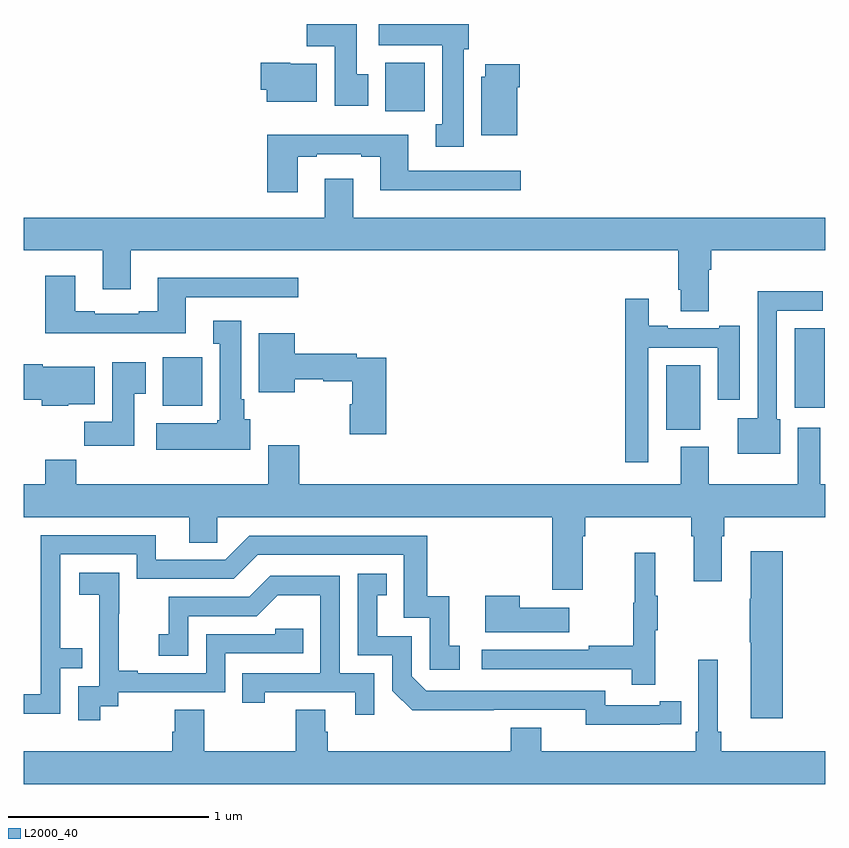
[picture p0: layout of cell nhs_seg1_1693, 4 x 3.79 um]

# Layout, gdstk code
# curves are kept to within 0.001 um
import gdstk
lib = gdstk.Library(unit=1e-6, precision=1e-09)
def R(c, l, rs):  # rectangles x0, y0, x1, y1
    for r in rs: c.add(gdstk.rectangle(r[:2], r[2:], *l))
def P(c, l, *ps):  # polygons
    for p in ps: c.add(gdstk.Polygon(p, *l))
L2000_40 = (2000, 40)

nhs_seg1_1693 = lib.new_cell('nhs_seg1_1693')
R(nhs_seg1_1693, L2000_40, [(206.207,548.174,206.377,548.494), (206.849,548.283,206.998,548.681), (203.693,548.294,203.89,548.536), (204.803,549.764,205,550.006)])
P(nhs_seg1_1693, L2000_40, [(205.195,550.074),(205.222,550.074),(205.222,550.199),(204.771,550.199),(204.771,550.094),(205.088,550.094),(205.088,549.698),(205.055,549.698),(205.055,549.585),(205.195,549.585)],
  [(204.718,549.948),(204.661,549.948),(204.661,550.199),(204.412,550.199),(204.412,550.088),(204.551,550.088),(204.551,549.792),(204.718,549.792)],
  [(204.463,550),(204.33,550),(204.33,550.006),(204.182,550.006),(204.182,549.87),(204.212,549.87),(204.212,549.812),(204.463,549.812)],
  [(205.462,549.884),(205.475,549.884),(205.475,549.997),(205.304,549.997),(205.304,549.936),(205.283,549.936),(205.283,549.644),(205.462,549.644)],
  [(204.367,549.537),(204.463,549.537),(204.463,549.549),(204.683,549.549),(204.683,549.537),(204.779,549.537),(204.779,549.368),(205.48,549.368),(205.48,549.465),(204.919,549.465),(204.919,549.646),(204.215,549.646),(204.215,549.36),(204.367,549.36)],
  [(206.419,548.972),(206.432,548.972),(206.432,549.068),(207,549.068),(207,549.232),(204.643,549.232),(204.643,549.427),(204.503,549.427),(204.503,549.232),(203,549.232),(203,549.068),(203.393,549.068),(203.393,548.874),(203.533,548.874),(203.533,549.068),(206.267,549.068),(206.267,548.872),(206.279,548.872),(206.279,548.764),(206.419,548.764)],
  [(203.809,548.835),(204.37,548.835),(204.37,548.932),(203.669,548.932),(203.669,548.764),(203.573,548.764),(203.573,548.751),(203.353,548.751),(203.353,548.764),(203.257,548.764),(203.257,548.941),(203.105,548.941),(203.105,548.654),(203.809,548.654)],
  [(206.776,548.226),(206.76,548.226),(206.76,548.766),(206.989,548.766),(206.989,548.864),(206.664,548.864),(206.664,548.23),(206.564,548.23),(206.564,548.054),(206.776,548.054)],
  [(206.118,548.583),(206.465,548.583),(206.465,548.322),(206.575,548.322),(206.575,548.692),(206.471,548.692),(206.471,548.679),(206.215,548.679),(206.215,548.692),(206.119,548.692),(206.119,548.827),(206.002,548.827),(206.002,548.01),(206.118,548.01)],
  [(204.13,548.226),(204.1,548.226),(204.1,548.326),(204.085,548.326),(204.085,548.716),(203.945,548.716),(203.945,548.603),(203.978,548.603),(203.978,548.22),(203.965,548.22),(203.965,548.206),(203.661,548.206),(203.661,548.072),(204.13,548.072)],
  [(204.809,548.532),(204.662,548.532),(204.662,548.552),(204.352,548.552),(204.352,548.656),(204.173,548.656),(204.173,548.36),(204.352,548.36),(204.352,548.424),(204.495,548.424),(204.495,548.416),(204.638,548.416),(204.638,548.301),(204.626,548.301),(204.626,548.151),(204.809,548.151)],
  [(203.551,548.353),(203.608,548.353),(203.608,548.509),(203.441,548.509),(203.441,548.212),(203.302,548.212),(203.302,548.094),(203.551,548.094)],
  [(203.22,548.3),(203.353,548.3),(203.353,548.488),(203.095,548.488),(203.095,548.501),(203,548.501),(203,548.323),(203.09,548.323),(203.09,548.294),(203.22,548.294)],
  [(205.789,547.64),(205.802,547.64),(205.802,547.736),(206.333,547.736),(206.333,547.64),(206.345,547.64),(206.345,547.416),(206.485,547.416),(206.485,547.64),(206.498,547.64),(206.498,547.736),(207,547.736),(207,547.9),(206.977,547.9),(206.977,548.182),(206.864,548.182),(206.864,547.9),(206.419,547.9),(206.419,548.089),(206.279,548.089),(206.279,547.9),(204.374,547.9),(204.374,548.095),(204.221,548.095),(204.221,547.9),(203.261,547.9),(203.261,548.024),(203.105,548.024),(203.105,547.9),(203,547.9),(203,547.736),(203.825,547.736),(203.825,547.609),(203.964,547.609),(203.964,547.736),(205.637,547.736),(205.637,547.374),(205.789,547.374)],
  [(203.181,546.981),(203.291,546.981),(203.291,547.082),(203.181,547.082),(203.181,547.551),(203.562,547.551),(203.562,547.428),(204.048,547.428),(204.168,547.548),(204.897,547.548),(204.897,547.233),(205.026,547.233),(205.026,546.975),(205.177,546.975),(205.177,547.095),(205.124,547.095),(205.124,547.342),(205.013,547.342),(205.013,547.644),(204.126,547.644),(204.006,547.524),(203.659,547.524),(203.659,547.647),(203.085,547.647),(203.085,546.852),(203,546.852),(203,546.756),(203.181,546.756)],
  [(206.789,547.567),(206.63,547.567),(206.63,547.328),(206.623,547.328),(206.623,547.111),(206.63,547.111),(206.63,546.732),(206.789,546.732)],
  [(206.153,547.171),(206.164,547.171),(206.164,547.345),(206.153,547.345),(206.153,547.558),(206.05,547.558),(206.05,547.308),(206.043,547.308),(206.043,547.094),(205.819,547.094),(205.819,547.074),(205.287,547.074),(205.287,546.978),(206.035,546.978),(206.035,546.9),(206.153,546.9)],
  [(203.38,546.793),(203.472,546.793),(203.472,546.861),(204.006,546.861),(204.006,547.056),(204.395,547.056),(204.395,547.179),(204.255,547.179),(204.255,547.152),(203.91,547.152),(203.91,546.957),(203.569,546.957),(203.569,546.97),(203.474,546.97),(203.474,547.253),(203.475,547.253),(203.475,547.459),(203.277,547.459),(203.277,547.349),(203.375,547.349),(203.375,547.121),(203.376,547.121),(203.376,546.891),(203.271,546.891),(203.271,546.723),(203.38,546.723)],
  [(206.174,546.702),(206.282,546.702),(206.282,546.818),(206.174,546.818),(206.174,546.798),(205.902,546.798),(205.902,546.87),(205.008,546.87),(204.936,546.942),(204.936,547.143),(204.763,547.143),(204.763,547.347),(204.812,547.347),(204.812,547.453),(204.666,547.453),(204.666,547.047),(204.84,547.047),(204.84,546.87),(204.938,546.773),(205.806,546.774),(205.806,546.701)],
  [(204.75,546.957),(204.576,546.957),(204.576,547.443),(204.23,547.443),(204.125,547.338),(203.722,547.338),(203.722,547.153),(203.673,547.153),(203.673,547.044),(203.82,547.044),(203.82,547.242),(204.162,547.242),(204.266,547.346),(204.48,547.346),(204.48,546.957),(204.091,546.957),(204.091,546.81),(204.202,546.81),(204.202,546.861),(204.653,546.861),(204.653,546.75),(204.75,546.75)],
  [(205.723,547.285),(205.475,547.285),(205.475,547.345),(205.304,547.345),(205.304,547.163),(205.723,547.163)],
  [(207,546.568),(206.483,546.568),(206.483,546.664),(206.464,546.664),(206.464,547.024),(206.367,547.024),(206.367,546.664),(206.354,546.664),(206.354,546.568),(205.582,546.568),(205.582,546.685),(205.43,546.685),(205.43,546.568),(204.518,546.568),(204.518,546.666),(204.505,546.666),(204.505,546.776),(204.358,546.776),(204.358,546.568),(203.901,546.568),(203.901,546.776),(203.753,546.776),(203.753,546.666),(203.741,546.666),(203.741,546.568),(203,546.568),(203,546.404),(207,546.404)])

lib.write_gds('nhs_seg1_1693.gds')
